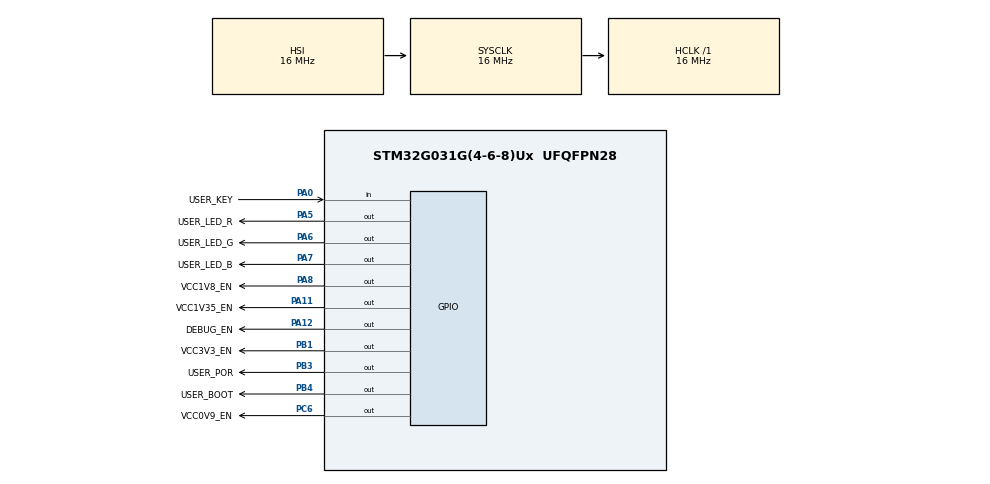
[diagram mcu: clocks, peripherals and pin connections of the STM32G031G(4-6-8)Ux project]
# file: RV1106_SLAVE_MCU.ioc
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Mcu.Family=STM32G0
Mcu.Name=STM32G031G(4-6-8)Ux
Mcu.Package=UFQFPN28
NVIC.TIM2_IRQn=true\:0\:0\:false\:false\:true\:true\:true\:true
PA0.GPIO_Label=USER_KEY
PA0.Signal=GPIO_Input
PA11\ [PA9].GPIO_Label=VCC1V35_EN
PA11\ [PA9].Signal=GPIO_Output
PA12\ [PA10].GPIO_Label=DEBUG_EN
PA12\ [PA10].Signal=GPIO_Output
PA13.Mode=Serial_Wire
PA13.Signal=SYS_SWDIO
PA14-BOOT0.Mode=Serial_Wire
PA14-BOOT0.Signal=SYS_SWCLK
PA5.GPIO_Label=USER_LED_R
PA5.GPIO_PuPd=GPIO_PULLUP
PA5.PinState=GPIO_PIN_SET
PA5.Signal=GPIO_Output
PA6.GPIO_Label=USER_LED_G
PA6.GPIO_PuPd=GPIO_PULLUP
PA6.PinState=GPIO_PIN_SET
PA6.Signal=GPIO_Output
PA7.GPIO_Label=USER_LED_B
PA7.GPIO_ModeDefaultOutputPP=GPIO_MODE_OUTPUT_PP
PA7.GPIO_PuPd=GPIO_PULLUP
PA7.PinState=GPIO_PIN_SET
PA7.Signal=GPIO_Output
PA8.GPIO_Label=VCC1V8_EN
PA8.Signal=GPIO_Output
PB1.GPIO_Label=VCC3V3_EN
PB1.Signal=GPIO_Output
PB3.GPIO_Label=USER_POR
PB3.GPIO_PuPd=GPIO_PULLUP
PB3.PinState=GPIO_PIN_RESET
PB3.Signal=GPIO_Output
PB4.GPIO_Label=USER_BOOT
PB4.GPIO_PuPd=GPIO_PULLUP
PB4.Signal=GPIO_Output
PC6.GPIO_Label=VCC0V9_EN
PC6.Signal=GPIO_Output
ProjectManager.HeapSize=0x200
ProjectManager.StackSize=0x400
ProjectManager.TargetToolchain=MDK-ARM V5.32
RCC.AHBFreq_Value=16000000
RCC.CortexFreq_Value=16000000
RCC.EXTERNAL_CLOCK_VALUE=12288000
RCC.HCLKFreq_Value=16000000
RCC.HSE_VALUE=8000000
RCC.HSI_VALUE=16000000
RCC.LSE_VALUE=32768
RCC.PLLQ=RCC_PLLQ_DIV4
RCC.SYSCLKFreq_VALUE=16000000
RCC.VCOOutputFreq_Value=128000000
TIM2.AutoReloadPreload=TIM_AUTORELOAD_PRELOAD_ENABLE
TIM2.Period=999
TIM2.Prescaler=15
VP_TIM2_VS_ClockSourceINT.Mode=Internal
board=custom

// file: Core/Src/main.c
/* USER CODE BEGIN Header */
/**
  ******************************************************************************
  * @file           : main.c
  * @brief          : Main program body
  ******************************************************************************
  * @attention
  *
  * Copyright (c) 2026 STMicroelectronics.
  * All rights reserved.
  *
  * This software is licensed under terms that can be found in the LICENSE file
  * in the root directory of this software component.
  * If no LICENSE file comes with this software, it is provided AS-IS.
  *
  ******************************************************************************
  */
/* USER CODE END Header */
#include "main.h"
#include "tim.h"
#include "gpio.h"

/* USER CODE BEGIN Includes */
#include "user.h"
/* USER CODE END Includes */

/* USER CODE BEGIN PD */
#define DEBUG_EN 0
/* USER CODE END PD */

/* USER CODE BEGIN PV */
SYS_STAMP_ sys_stamp_now;
/* USER CODE END PV */

void SystemClock_Config(void);

int main(void)
{

  /* USER CODE BEGIN 1 */
  int8_t red_en = 0;
  int8_t green_en = 0;
  int8_t blue_en = 0;
  int8_t power_state = 0;
  int8_t download_state = 0;
  /* USER CODE END 1 */

  /* MCU Configuration--------------------------------------------------------*/

  /* Reset of all peripherals, Initializes the Flash interface and the Systick. */
  HAL_Init();

  /* Configure the system clock */
  SystemClock_Config();

  /* Initialize all configured peripherals */
  MX_GPIO_Init();
  MX_TIM2_Init();
  /* USER CODE BEGIN 2 */
  USER_MODE_ user_mode = POWER_DOWN_;
  // Start TIM2 global interrupt
  HAL_TIM_Base_Start_IT(&htim2);

  // SOC POWER ENABLE SEQUENCE
//  HAL_GPIO_WritePin(VCC0V9_EN_GPIO_Port, VCC0V9_EN_Pin, GPIO_PIN_SET);
//  HAL_Delay(10);
//  HAL_GPIO_WritePin(VCC1V35_EN_GPIO_Port, VCC1V35_EN_Pin, GPIO_PIN_SET);
//  HAL_Delay(10);
//  HAL_GPIO_WritePin(VCC1V8_EN_GPIO_Port, VCC1V8_EN_Pin, GPIO_PIN_SET);
//  HAL_Delay(10);
//  HAL_GPIO_WritePin(VCC3V3_EN_GPIO_Port, VCC3V3_EN_Pin, GPIO_PIN_SET);
//  HAL_Delay(10);

//	HAL_GPIO_WritePin(USER_POR_GPIO_Port, USER_POR_Pin, GPIO_PIN_RESET);
//	HAL_GPIO_WritePin(USER_BOOT_GPIO_Port, USER_BOOT_Pin, GPIO_PIN_RESET);

//		HAL_GPIO_WritePin(USER_POR_GPIO_Port, USER_POR_Pin, GPIO_PIN_SET);
//		HAL_Delay(100);
//		HAL_GPIO_WritePin(USER_POR_GPIO_Port, USER_POR_Pin, GPIO_PIN_RESET);
//		HAL_Delay(100);
//		HAL_GPIO_WritePin(USER_BOOT_GPIO_Port, USER_BOOT_Pin, GPIO_PIN_RESET);
//		HAL_Delay(500);
//		HAL_GPIO_WritePin(USER_BOOT_GPIO_Port, USER_BOOT_Pin, GPIO_PIN_RESET);
  /* USER CODE END 2 */

  /* Infinite loop */
  /* USER CODE BEGIN WHILE */
  while (1)
  {
	 // USER_KEY SCAN
	 static SYS_STAMP_ sys_stamp_last_user_key_scan = {.sys_stamp_sec = 0, .sys_stamp_msec = 0};
	 static int16_t user_key_press_time_count = 0;
	 SYS_STAMP_ sys_stamp_duration_ = sys_stamp_duration(&sys_stamp_now, &sys_stamp_last_user_key_scan);
	 if(sys_stamp_duration_.sys_stamp_sec > 0 && sys_stamp_duration_.sys_stamp_sec*1000+sys_stamp_duration_.sys_stamp_msec > USER_KEY_SCAN_DURATION){
		if(HAL_GPIO_ReadPin(USER_KEY_GPIO_Port, USER_KEY_Pin) == 0){
			user_key_press_time_count++;
		}else{
			if(user_key_press_time_count > USER_KEY_SHORT_TIME && user_key_press_time_count <= 10){
				switch(user_mode){
					case POWER_DOWN_:{ user_mode = POWER_ON_; break; }
					case POWER_ON_:{ user_mode = POWER_DOWN_; break; }
					case DEBUG_EN_:{ user_mode = DOWNLOAD_EN_; break; }
					case DOWNLOAD_EN_:{ user_mode = POWER_ON_; break; }
					default:{ break; }
				}
			}else if(user_key_press_time_count > USER_KEY_LONG_TIME){
				switch(user_mode){
					case POWER_ON_:{ user_mode = DEBUG_EN_; break; }
					case DEBUG_EN_:{ user_mode = POWER_ON_; break; }
					default:{ break; }
				}
			}
			user_key_press_time_count = 0;
		}
		sys_stamp_last_user_key_scan.sys_stamp_sec = sys_stamp_now.sys_stamp_sec;
		sys_stamp_last_user_key_scan.sys_stamp_msec = sys_stamp_now.sys_stamp_msec;
	 }
	 // POWER_DOWN_
	 if (user_mode == POWER_DOWN_) {
		static SYS_STAMP_ sys_stamp_last_power_down = {.sys_stamp_sec = 0, .sys_stamp_msec = 0};
		SYS_STAMP_ sys_stamp_duration_ = sys_stamp_duration(&sys_stamp_now, &sys_stamp_last_power_down);
		if(sys_stamp_duration_.sys_stamp_sec > 0 && sys_stamp_duration_.sys_stamp_sec*1000+sys_stamp_duration_.sys_stamp_msec > USER_LED_BLINK_DURATION){
			red_en = !red_en;
			green_en = 0;
			blue_en = 0;
			user_led(red_en, green_en, blue_en);

			HAL_GPIO_WritePin(VCC3V3_EN_GPIO_Port, VCC3V3_EN_Pin, GPIO_PIN_RESET);
			HAL_Delay(10);
			HAL_GPIO_WritePin(VCC1V8_EN_GPIO_Port, VCC1V8_EN_Pin, GPIO_PIN_RESET);
			HAL_Delay(10);
			HAL_GPIO_WritePin(VCC1V35_EN_GPIO_Port, VCC1V35_EN_Pin, GPIO_PIN_RESET);
			HAL_Delay(10);
			HAL_GPIO_WritePin(VCC0V9_EN_GPIO_Port, VCC0V9_EN_Pin, GPIO_PIN_RESET);
			HAL_Delay(10);

			sys_stamp_last_power_down.sys_stamp_sec = sys_stamp_now.sys_stamp_sec;
			sys_stamp_last_power_down.sys_stamp_msec = sys_stamp_now.sys_stamp_msec;
		}
		power_state = 0;
	 }
	 // POWER_ON_
	 if(user_mode == POWER_ON_){
		HAL_GPIO_WritePin(DEBUG_EN_GPIO_Port, DEBUG_EN_Pin, DEBUG_EN);
		if(power_state == 0){
			red_en = 1;
			green_en = 0;
			blue_en = 0;
			user_led(red_en, green_en, blue_en);
			HAL_Delay(200);
			// SOC Power on sequence: 0V9->1V35(DDR)->1V8->3V3
			HAL_GPIO_WritePin(VCC0V9_EN_GPIO_Port, VCC0V9_EN_Pin, GPIO_PIN_SET);
			HAL_Delay(10);
			HAL_GPIO_WritePin(VCC1V35_EN_GPIO_Port, VCC1V35_EN_Pin, GPIO_PIN_SET);
			HAL_Delay(10);
			HAL_GPIO_WritePin(VCC1V8_EN_GPIO_Port, VCC1V8_EN_Pin, GPIO_PIN_SET);
			HAL_Delay(10);
			HAL_GPIO_WritePin(VCC3V3_EN_GPIO_Port, VCC3V3_EN_Pin, GPIO_PIN_SET);
			HAL_Delay(10);
			HAL_GPIO_WritePin(DEBUG_EN_GPIO_Port, DEBUG_EN_Pin, GPIO_PIN_RESET);
		}
		static SYS_STAMP_ sys_stamp_last_power_on = {.sys_stamp_sec = 0, .sys_stamp_msec = 0};
		SYS_STAMP_ sys_stamp_duration_ = sys_stamp_duration(&sys_stamp_now, &sys_stamp_last_power_on);
		if(sys_stamp_duration_.sys_stamp_sec > 0 && sys_stamp_duration_.sys_stamp_sec*1000+sys_stamp_duration_.sys_stamp_msec > USER_LED_BLINK_DURATION){
			red_en = 0;
			green_en = !green_en;
			blue_en = 0;
			user_led(red_en, green_en, blue_en);

			sys_stamp_last_power_on.sys_stamp_sec = sys_stamp_now.sys_stamp_sec;
			sys_stamp_last_power_on.sys_stamp_msec = sys_stamp_now.sys_stamp_msec;
		}
		power_state = 1;
		download_state = 0;
	 }
	 // DEBUG_EN
	 if(user_mode == DEBUG_EN_){
		HAL_GPIO_WritePin(DEBUG_EN_GPIO_Port, DEBUG_EN_Pin, GPIO_PIN_SET);
		static SYS_STAMP_ sys_stamp_last_debug_en = {.sys_stamp_sec = 0, .sys_stamp_msec = 0};
		SYS_STAMP_ sys_stamp_duration_ = sys_stamp_duration(&sys_stamp_now, &sys_stamp_last_debug_en);
		if(sys_stamp_duration_.sys_stamp_sec > 0 && sys_stamp_duration_.sys_stamp_sec*1000+sys_stamp_duration_.sys_stamp_msec > USER_LED_BLINK_DURATION){
			red_en = 0;
			green_en = 0;
			blue_en = !blue_en;
			user_led(red_en, green_en, blue_en);

			sys_stamp_last_debug_en.sys_stamp_sec = sys_stamp_now.sys_stamp_sec;
			sys_stamp_last_debug_en.sys_stamp_msec = sys_stamp_now.sys_stamp_msec;
		}
		download_state = 0;
	 }
	 // DOWNLOAD_EN
	 if(user_mode == DOWNLOAD_EN_){
		red_en = 1;
		green_en = 1;
		blue_en = 0;
		user_led(red_en, green_en, blue_en);
		if(download_state == 0){
			HAL_GPIO_WritePin(DEBUG_EN_GPIO_Port, DEBUG_EN_Pin, GPIO_PIN_RESET);
			HAL_GPIO_WritePin(USER_BOOT_GPIO_Port, USER_BOOT_Pin, GPIO_PIN_SET);
			HAL_Delay(50);
			HAL_GPIO_WritePin(USER_POR_GPIO_Port, USER_POR_Pin, GPIO_PIN_SET);
			HAL_Delay(500);
			HAL_GPIO_WritePin(USER_POR_GPIO_Port, USER_POR_Pin, GPIO_PIN_RESET);
			HAL_Delay(500);
			HAL_GPIO_WritePin(USER_BOOT_GPIO_Port, USER_BOOT_Pin, GPIO_PIN_RESET);
		}
		download_state = 1;
	 }
    /* USER CODE END WHILE */

  }
}

void SystemClock_Config(void)
{
  RCC_OscInitTypeDef RCC_OscInitStruct = {0};
  RCC_ClkInitTypeDef RCC_ClkInitStruct = {0};

  /** Configure the main internal regulator output voltage
  */
  HAL_PWREx_ControlVoltageScaling(PWR_REGULATOR_VOLTAGE_SCALE1);

  /** Initializes the RCC Oscillators according to the specified parameters
  * in the RCC_OscInitTypeDef structure.
  */
  RCC_OscInitStruct.OscillatorType = RCC_OSCILLATORTYPE_HSI;
  RCC_OscInitStruct.HSIState = RCC_HSI_ON;
  RCC_OscInitStruct.HSIDiv = RCC_HSI_DIV1;
  RCC_OscInitStruct.HSICalibrationValue = RCC_HSICALIBRATION_DEFAULT;
  RCC_OscInitStruct.PLL.PLLState = RCC_PLL_NONE;
  if (HAL_RCC_OscConfig(&RCC_OscInitStruct) != HAL_OK)
  {
    Error_Handler();
  }

  /** Initializes the CPU, AHB and APB buses clocks
  */
  RCC_ClkInitStruct.ClockType = RCC_CLOCKTYPE_HCLK|RCC_CLOCKTYPE_SYSCLK
                              |RCC_CLOCKTYPE_PCLK1;
  RCC_ClkInitStruct.SYSCLKSource = RCC_SYSCLKSOURCE_HSI;
  RCC_ClkInitStruct.AHBCLKDivider = RCC_SYSCLK_DIV1;
  RCC_ClkInitStruct.APB1CLKDivider = RCC_HCLK_DIV1;

  if (HAL_RCC_ClockConfig(&RCC_ClkInitStruct, FLASH_LATENCY_0) != HAL_OK)
  {
    Error_Handler();
  }
}

void Error_Handler(void)
{
  __disable_irq();
  while (1)
  {
  }
}
